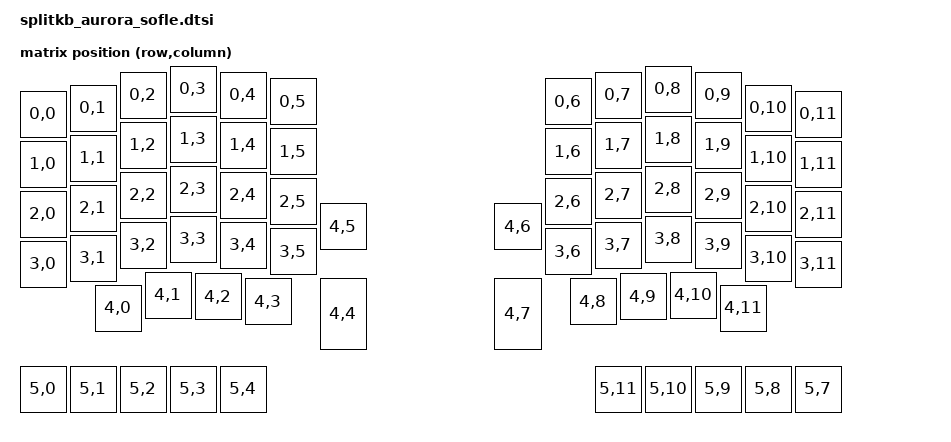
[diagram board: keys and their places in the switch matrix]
#include <physical_layouts.dtsi>
#include <dt-bindings/led/led.h>

/ {
    chosen {
        zmk,physical-layout = &halcyon_layout; 
        zmk,kscan = &kscan_composite;
        zmk,underglow = &led_strip;
    };

    halcyon_transform: keymap_transform_0 {
        compatible = "zmk,matrix-transform";
        columns = <14>;
        rows = <6>;
// | SW6  | SW5  | SW4  | SW3  | SW2  | SW1  |                 | SW1  | SW2  | SW3  | SW4  | SW5  | SW6  |
// | SW12 | SW11 | SW10 | SW9  | SW8  | SW7  |                 | SW7  | SW8  | SW9  | SW10 | SW11 | SW12 |
// | SW18 | SW17 | SW16 | SW15 | SW14 | SW13 |                 | SW13 | SW14 | SW15 | SW16 | SW17 | SW18 |
// | SW24 | SW23 | SW22 | SW21 | SW20 | SW19 | SW25 |   | SW25 | SW19 | SW20 | SW21 | SW22 | SW23 | SW24 |
//               | SW30 | SW29 | SW28 | SW27 | SW26 |   | SW26 | SW27 | SW28 | SW29 | SW30 |
// | D0   | D1   | D2   | D3   | D4   |                               | D4   | D3   | D2   | D1   | D0   |

        map = <
RC(0,0) RC(0,1) RC(0,2) RC(0,3) RC(0,4) RC(0,5)                 RC(0,6) RC(0,7) RC(0,8)  RC(0,9) RC(0,10) RC(0,11)
RC(1,0) RC(1,1) RC(1,2) RC(1,3) RC(1,4) RC(1,5)                 RC(1,6) RC(1,7) RC(1,8)  RC(1,9) RC(1,10) RC(1,11)
RC(2,0) RC(2,1) RC(2,2) RC(2,3) RC(2,4) RC(2,5)                 RC(2,6) RC(2,7) RC(2,8)  RC(2,9) RC(2,10) RC(2,11)
RC(3,0) RC(3,1) RC(3,2) RC(3,3) RC(3,4) RC(3,5) RC(4,5) RC(4,6) RC(3,6) RC(3,7) RC(3,8)  RC(3,9) RC(3,10) RC(3,11)
                RC(4,0) RC(4,1) RC(4,2) RC(4,3) RC(4,4) RC(4,7) RC(4,8) RC(4,9) RC(4,10) RC(4,11)
RC(5,0) RC(5,1) RC(5,2) RC(5,3) RC(5,4)                                 RC(5,11) RC(5,10) RC(5,9) RC(5,8) RC(5,7)

        >;
    };

    halcyon_layout: halcyon_layout {
        compatible = "zmk,physical-layout";
        display-name = "Aurora Sofle V2";
        transform = <&halcyon_transform>;

        keys  //                     w   h    x    y     rot    rx    ry
            = <&key_physical_attrs 100 100    0   50       0     0     0>
            , <&key_physical_attrs 100 100  100   38       0     0     0>
            , <&key_physical_attrs 100 100  200   12       0     0     0>
            , <&key_physical_attrs 100 100  300    0       0     0     0>
            , <&key_physical_attrs 100 100  400   12       0     0     0>
            , <&key_physical_attrs 100 100  500   25       0     0     0>
            , <&key_physical_attrs 100 100 1050   25       0     0     0>
            , <&key_physical_attrs 100 100 1150   12       0     0     0>
            , <&key_physical_attrs 100 100 1250    0       0     0     0>
            , <&key_physical_attrs 100 100 1350   12       0     0     0>
            , <&key_physical_attrs 100 100 1450   38       0     0     0>
            , <&key_physical_attrs 100 100 1550   50       0     0     0>
            , <&key_physical_attrs 100 100    0  150       0     0     0>
            , <&key_physical_attrs 100 100  100  138       0     0     0>
            , <&key_physical_attrs 100 100  200  112       0     0     0>
            , <&key_physical_attrs 100 100  300  100       0     0     0>
            , <&key_physical_attrs 100 100  400  112       0     0     0>
            , <&key_physical_attrs 100 100  500  125       0     0     0>
            , <&key_physical_attrs 100 100 1050  125       0     0     0>
            , <&key_physical_attrs 100 100 1150  112       0     0     0>
            , <&key_physical_attrs 100 100 1250  100       0     0     0>
            , <&key_physical_attrs 100 100 1350  112       0     0     0>
            , <&key_physical_attrs 100 100 1450  138       0     0     0>
            , <&key_physical_attrs 100 100 1550  150       0     0     0>
            , <&key_physical_attrs 100 100    0  250       0     0     0>
            , <&key_physical_attrs 100 100  100  238       0     0     0>
            , <&key_physical_attrs 100 100  200  212       0     0     0>
            , <&key_physical_attrs 100 100  300  200       0     0     0>
            , <&key_physical_attrs 100 100  400  212       0     0     0>
            , <&key_physical_attrs 100 100  500  225       0     0     0>
            , <&key_physical_attrs 100 100 1050  225       0     0     0>
            , <&key_physical_attrs 100 100 1150  212       0     0     0>
            , <&key_physical_attrs 100 100 1250  200       0     0     0>
            , <&key_physical_attrs 100 100 1350  212       0     0     0>
            , <&key_physical_attrs 100 100 1450  238       0     0     0>
            , <&key_physical_attrs 100 100 1550  250       0     0     0>
            , <&key_physical_attrs 100 100    0  350       0     0     0>
            , <&key_physical_attrs 100 100  100  338       0     0     0>
            , <&key_physical_attrs 100 100  200  312       0     0     0>
            , <&key_physical_attrs 100 100  300  300       0     0     0>
            , <&key_physical_attrs 100 100  400  312       0     0     0>
            , <&key_physical_attrs 100 100  500  325       0     0     0>
            , <&key_physical_attrs 100 100  600  275       0     0     0>
            , <&key_physical_attrs 100 100  950  275       0     0     0>
            , <&key_physical_attrs 100 100 1050  325       0     0     0>
            , <&key_physical_attrs 100 100 1150  312       0     0     0>
            , <&key_physical_attrs 100 100 1250  300       0     0     0>
            , <&key_physical_attrs 100 100 1350  312       0     0     0>
            , <&key_physical_attrs 100 100 1450  338       0     0     0>
            , <&key_physical_attrs 100 100 1550  350       0     0     0>
            , <&key_physical_attrs 100 100  150  438       0     0     0>
            , <&key_physical_attrs 100 100  250  412       0     0     0>
            , <&key_physical_attrs 100 100  350  415       0     0     0>
            , <&key_physical_attrs 100 100  450  425       0     0     0>
            , <&key_physical_attrs 100 150  600  425       0     0     0>
            , <&key_physical_attrs 100 150  950  425       0     0     0>
            , <&key_physical_attrs 100 100 1100  425       0     0     0>
            , <&key_physical_attrs 100 100 1200  415       0     0     0>
            , <&key_physical_attrs 100 100 1300  412       0     0     0>
            , <&key_physical_attrs 100 100 1400  438       0     0     0>
            , <&key_physical_attrs 100 100    0  600       0     0     0> // Halcyon button left 1
            , <&key_physical_attrs 100 100  100  600       0     0     0> // Halcyon button left 2
            , <&key_physical_attrs 100 100  200  600       0     0     0> // Halcyon button left 3
            , <&key_physical_attrs 100 100  300  600       0     0     0> // Halcyon button left 4
            , <&key_physical_attrs 100 100  400  600       0     0     0> // Halcyon button left 5
            , <&key_physical_attrs 100 100 1150  600       0     0     0> // Halcyon button right 5
            , <&key_physical_attrs 100 100 1250  600       0     0     0> // Halcyon button right 4
            , <&key_physical_attrs 100 100 1350  600       0     0     0> // Halcyon button right 3
            , <&key_physical_attrs 100 100 1450  600       0     0     0> // Halcyon button right 2
            , <&key_physical_attrs 100 100 1550  600       0     0     0> // Halcyon button right 1
            ;
    };

    kscan_composite: kscan_composite {
        compatible = "zmk,kscan-composite";
        columns = <14>; // Match your keyboard's column count
        rows = <6>;    // Total rows including the Halcyon row
        wakeup-source;

        matrix {
            kscan = <&kscan>; // Match your keyboard's existing kscan
        };

        halcyon {
            kscan = <&kscan_halcyon>;
            row-offset = <5>; // Number of existing rows (0-indexed)
        };
    };

    sensors: sensors {
        compatible = "zmk,keymap-sensors";
        // Place Halcyon encoders before your physical board encoders
        sensors = <&left_halcyon_encoder &right_halcyon_encoder &left_encoder &right_encoder>;
        triggers-per-rotation = <20>;
    };
};

&pinctrl {
    spi2_default: spi2_default {
        group1 {
            psels = <NRF_PSEL(SPIM_SCK, 1, 4)>, /* Not connected */
                    <NRF_PSEL(SPIM_MOSI, 0, 27)>;
        };
    };

    spi2_sleep: spi2_sleep {
        group1 {
            psels = <NRF_PSEL(SPIM_SCK, 1, 4)>, /* Not connected */
                    <NRF_PSEL(SPIM_MOSI, 0, 27)>;
            low-power-enable;
        };
    };
};

&spi2 {
    compatible = "nordic,nrf-spim";
    status = "okay";

    pinctrl-0 = <&spi2_default>;
    pinctrl-1 = <&spi2_sleep>;
    pinctrl-names = "default", "sleep";

    led_strip: ws2812@0 {
        compatible = "worldsemi,ws2812-spi";

        /* SPI */
        reg = <0>; /* ignored, but necessary for SPI bindings */
        spi-max-frequency = <4000000>;

        /* WS2812 */
        chain-length = <34>; /* arbitrary; change at will */
        spi-one-frame = <0x70>;
        spi-zero-frame = <0x40>;

        color-mapping = <LED_COLOR_ID_GREEN 
                LED_COLOR_ID_RED 
                LED_COLOR_ID_BLUE>;
    };
};
